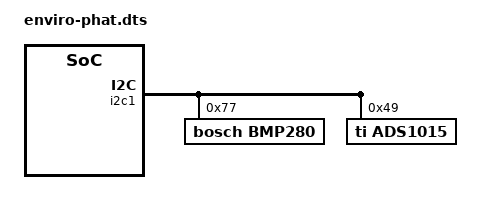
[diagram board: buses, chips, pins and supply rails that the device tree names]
/dts-v1/;
/plugin/;

&i2c1 {
  status = "okay";
  #address-cells = <1>;
  #size-cells = <0>;

  /* Define the BMP280 pressure sensor at address 0x77 */
  bmp280@77 {
    compatible = "bosch,bmp280";
    reg = <0x77>;
  };

  /* Define the ADS1015 ADC at address 0x49 */
  ads1015@49 {
    compatible = "ti,ads1015";
    reg = <0x49>;
  };
};
